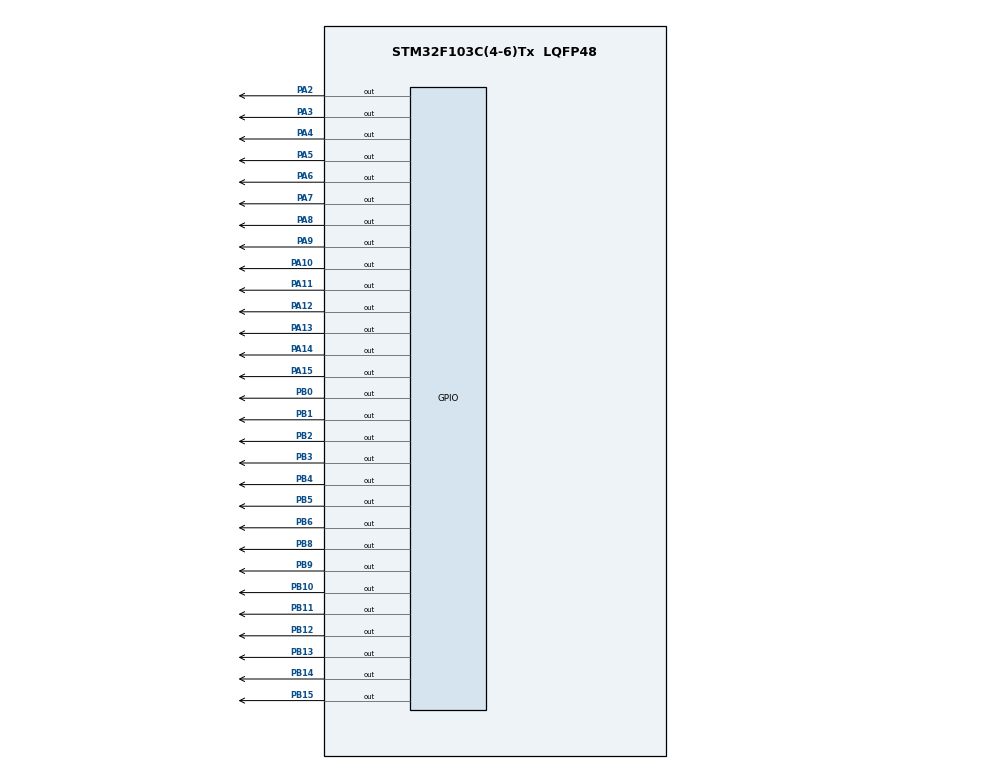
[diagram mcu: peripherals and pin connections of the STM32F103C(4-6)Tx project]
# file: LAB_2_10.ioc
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Mcu.Family=STM32F1
Mcu.Name=STM32F103C(4-6)Tx
Mcu.Package=LQFP48
NVIC.PriorityGroup=NVIC_PRIORITYGROUP_4
NVIC.TIM2_IRQn=true\:0\:0\:false\:false\:true\:true\:true
PA10.Signal=GPIO_Output
PA11.Signal=GPIO_Output
PA12.Signal=GPIO_Output
PA13.Signal=GPIO_Output
PA14.Signal=GPIO_Output
PA15.Signal=GPIO_Output
PA2.Signal=GPIO_Output
PA3.Signal=GPIO_Output
PA4.Signal=GPIO_Output
PA5.Signal=GPIO_Output
PA6.PinState=GPIO_PIN_SET
PA6.Signal=GPIO_Output
PA7.PinState=GPIO_PIN_SET
PA7.Signal=GPIO_Output
PA8.PinState=GPIO_PIN_SET
PA8.Signal=GPIO_Output
PA9.PinState=GPIO_PIN_SET
PA9.Signal=GPIO_Output
PB0.Signal=GPIO_Output
PB1.Signal=GPIO_Output
PB10.Signal=GPIO_Output
PB11.Signal=GPIO_Output
PB12.Signal=GPIO_Output
PB13.Signal=GPIO_Output
PB14.Signal=GPIO_Output
PB15.Signal=GPIO_Output
PB2.Signal=GPIO_Output
PB3.Signal=GPIO_Output
PB4.Signal=GPIO_Output
PB5.Signal=GPIO_Output
PB6.Signal=GPIO_Output
PB8.Signal=GPIO_Output
PB9.Signal=GPIO_Output
ProjectManager.HeapSize=0x200
ProjectManager.StackSize=0x400
ProjectManager.TargetToolchain=STM32CubeIDE
RCC.APB1Freq_Value=8000000
RCC.APB2Freq_Value=8000000
TIM2.Period=9
TIM2.Prescaler=7999
VP_SYS_VS_ND.Mode=No_Debug
VP_TIM2_VS_ClockSourceINT.Mode=Internal
board=custom

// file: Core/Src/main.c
/* USER CODE BEGIN Header */
/**
  ******************************************************************************
  * @file           : main.c
  * @brief          : Main program body
  ******************************************************************************
  */
/* USER CODE END Header */
#include "main.h"

TIM_HandleTypeDef htim2;

/* USER CODE BEGIN PV */
// Khai báo biến cho đồng hồ 7 đoạn
int hour = 15;
int minute = 8;
int second = 50;
const int MAX_LED = 4;
int index_led = 0;
int led_buffer[4] = {1, 5, 0, 8};

// Khai báo biến cho LED Ma trận (Exercise 9 & 10)
const int MAX_LED_MATRIX = 8;
int index_led_matrix = 0;
uint8_t matrix_buffer[8] = {
    0x18, 0x24, 0x42, 0x42,
    0x7E, 0x42, 0x42, 0x00
};
/* USER CODE END PV */

void SystemClock_Config(void);
static void MX_GPIO_Init(void);
static void MX_TIM2_Init(void);

/* USER CODE BEGIN 0 */
// Hàm hiển thị 1 số trên LED 7 đoạn
void display7SEG(int num) {
    uint8_t segmentMap[10] = {0x40, 0x79, 0x24, 0x30, 0x19, 0x12, 0x02, 0x78, 0x00, 0x10};
    if (num < 0 || num > 9) return;
    uint8_t val = segmentMap[num];

    HAL_GPIO_WritePin(GPIOB, GPIO_PIN_0, (val >> 0) & 0x01);
    HAL_GPIO_WritePin(GPIOB, GPIO_PIN_1, (val >> 1) & 0x01);
    HAL_GPIO_WritePin(GPIOB, GPIO_PIN_2, (val >> 2) & 0x01);
    HAL_GPIO_WritePin(GPIOB, GPIO_PIN_3, (val >> 3) & 0x01);
    HAL_GPIO_WritePin(GPIOB, GPIO_PIN_4, (val >> 4) & 0x01);
    HAL_GPIO_WritePin(GPIOB, GPIO_PIN_5, (val >> 5) & 0x01);
    HAL_GPIO_WritePin(GPIOB, GPIO_PIN_6, (val >> 6) & 0x01);
}

// Hàm quét LED 7 đoạn
void update7SEG(int index) {
    HAL_GPIO_WritePin(GPIOA, GPIO_PIN_6 | GPIO_PIN_7 | GPIO_PIN_8 | GPIO_PIN_9, GPIO_PIN_SET);

    switch (index) {
        case 0:
            display7SEG(led_buffer[0]);
            HAL_GPIO_WritePin(GPIOA, GPIO_PIN_6, GPIO_PIN_RESET);
            break;
        case 1:
            display7SEG(led_buffer[1]);
            HAL_GPIO_WritePin(GPIOA, GPIO_PIN_7, GPIO_PIN_RESET);
            break;
        case 2:
            display7SEG(led_buffer[2]);
            HAL_GPIO_WritePin(GPIOA, GPIO_PIN_8, GPIO_PIN_RESET);
            break;
        case 3:
            display7SEG(led_buffer[3]);
            HAL_GPIO_WritePin(GPIOA, GPIO_PIN_9, GPIO_PIN_RESET);
            break;
    }
}

// Hàm cập nhật mảng chứa dữ liệu th�?i gian
void updateClockBuffer() {
    led_buffer[0] = hour / 10;
    led_buffer[1] = hour % 10;
    led_buffer[2] = minute / 10;
    led_buffer[3] = minute % 10;
}

// Hàm quét LED Ma trận theo phương pháp quét hàng (Row scanning)
void updateLEDMatrix(int index) {
    // 1. Tắt tất cả các cột trước
    HAL_GPIO_WritePin(GPIOA, GPIO_PIN_1 | GPIO_PIN_2 | GPIO_PIN_10 | GPIO_PIN_11 |
                             GPIO_PIN_12 | GPIO_PIN_13 | GPIO_PIN_14 | GPIO_PIN_15, GPIO_PIN_RESET);

    // 2. Xuất dữ liệu hàng (ROW) ra các chân PB8 đến PB15
    uint8_t row_data = matrix_buffer[index];
    HAL_GPIO_WritePin(GPIOB, GPIO_PIN_8,  (row_data >> 0) & 0x01);
    HAL_GPIO_WritePin(GPIOB, GPIO_PIN_9,  (row_data >> 1) & 0x01);
    HAL_GPIO_WritePin(GPIOB, GPIO_PIN_10, (row_data >> 2) & 0x01);
    HAL_GPIO_WritePin(GPIOB, GPIO_PIN_11, (row_data >> 3) & 0x01);
    HAL_GPIO_WritePin(GPIOB, GPIO_PIN_12, (row_data >> 4) & 0x01);
    HAL_GPIO_WritePin(GPIOB, GPIO_PIN_13, (row_data >> 5) & 0x01);
    HAL_GPIO_WritePin(GPIOB, GPIO_PIN_14, (row_data >> 6) & 0x01);
    HAL_GPIO_WritePin(GPIOB, GPIO_PIN_15, (row_data >> 7) & 0x01);

    // 3. Kích hoạt cột tương ứng
    switch (index) {
        case 0: HAL_GPIO_WritePin(GPIOA, GPIO_PIN_1,  GPIO_PIN_SET); break;
        case 1: HAL_GPIO_WritePin(GPIOA, GPIO_PIN_2,  GPIO_PIN_SET); break;
        case 2: HAL_GPIO_WritePin(GPIOA, GPIO_PIN_10, GPIO_PIN_SET); break;
        case 3: HAL_GPIO_WritePin(GPIOA, GPIO_PIN_11, GPIO_PIN_SET); break;
        case 4: HAL_GPIO_WritePin(GPIOA, GPIO_PIN_12, GPIO_PIN_SET); break;
        case 5: HAL_GPIO_WritePin(GPIOA, GPIO_PIN_13, GPIO_PIN_SET); break;
        case 6: HAL_GPIO_WritePin(GPIOA, GPIO_PIN_14, GPIO_PIN_SET); break;
        case 7: HAL_GPIO_WritePin(GPIOA, GPIO_PIN_15, GPIO_PIN_SET); break;
    }
}
/* USER CODE END 0 */

int main(void)
{

  /* MCU Configuration--------------------------------------------------------*/

  /* Reset of all peripherals, Initializes the Flash interface and the Systick. */
  HAL_Init();

  /* Configure the system clock */
  SystemClock_Config();

  /* Initialize all configured peripherals */
  MX_GPIO_Init();
  MX_TIM2_Init();
  /* USER CODE BEGIN 2 */
  HAL_TIM_Base_Start_IT(&htim2); // Bắt đầu chạy ngắt Timer 2

  // Khởi tạo các mốc th�?i gian để chạy delay không đồng bộ (non-blocking)
  uint32_t last_time_clock = HAL_GetTick();
  uint32_t last_time_matrix = HAL_GetTick();
  /* USER CODE END 2 */

  /* Infinite loop */
  /* USER CODE BEGIN WHILE */
  while (1)
  {
      // 1. Cập nhật đồng hồ và nháy 3 đèn LED D1, D2, D3 mỗi 1000ms (1 giây)
      if (HAL_GetTick() - last_time_clock >= 1000) {
          last_time_clock = HAL_GetTick();

          second++;
          if (second >= 60){
              second = 0;
              minute++;
          }
          if(minute >= 60){
              minute = 0;
              hour++;
          }
          if(hour >= 24){
              hour = 0;
          }

          updateClockBuffer(); // Cập nhật th�?i gian

          // Chớp nháy 3 đèn LED RED D1, D2, D3 ở PA3, PA4 và PA5 mỗi giây
          HAL_GPIO_TogglePin(GPIOA, GPIO_PIN_3 | GPIO_PIN_4 | GPIO_PIN_5);
      }

      // 2. Hiệu ứng dịch chữ sang ngang (Left to Right) trên LED Ma trận
      if (HAL_GetTick() - last_time_matrix >= 200) {
          last_time_matrix = HAL_GetTick();

          for (int i = 0; i < MAX_LED_MATRIX; i++) {
              uint8_t temp = matrix_buffer[i];
              matrix_buffer[i] = (temp >> 1) | (temp << 7);
          }
      }
    /* USER CODE END WHILE */

  }
}

void SystemClock_Config(void)
{
  RCC_OscInitTypeDef RCC_OscInitStruct = {0};
  RCC_ClkInitTypeDef RCC_ClkInitStruct = {0};

  /** Initializes the RCC Oscillators according to the specified parameters
  * in the RCC_OscInitTypeDef structure.
  */
  RCC_OscInitStruct.OscillatorType = RCC_OSCILLATORTYPE_HSI;
  RCC_OscInitStruct.HSIState = RCC_HSI_ON;
  RCC_OscInitStruct.HSICalibrationValue = RCC_HSICALIBRATION_DEFAULT;
  RCC_OscInitStruct.PLL.PLLState = RCC_PLL_NONE;
  if (HAL_RCC_OscConfig(&RCC_OscInitStruct) != HAL_OK)
  {
    Error_Handler();
  }
  /** Initializes the CPU, AHB and APB buses clocks
  */
  RCC_ClkInitStruct.ClockType = RCC_CLOCKTYPE_HCLK|RCC_CLOCKTYPE_SYSCLK
                              |RCC_CLOCKTYPE_PCLK1|RCC_CLOCKTYPE_PCLK2;
  RCC_ClkInitStruct.SYSCLKSource = RCC_SYSCLKSOURCE_HSI;
  RCC_ClkInitStruct.AHBCLKDivider = RCC_SYSCLK_DIV1;
  RCC_ClkInitStruct.APB1CLKDivider = RCC_HCLK_DIV1;
  RCC_ClkInitStruct.APB2CLKDivider = RCC_HCLK_DIV1;

  if (HAL_RCC_ClockConfig(&RCC_ClkInitStruct, FLASH_LATENCY_0) != HAL_OK)
  {
    Error_Handler();
  }
}

static void MX_TIM2_Init(void)
{

  TIM_ClockConfigTypeDef sClockSourceConfig = {0};
  TIM_MasterConfigTypeDef sMasterConfig = {0};

  htim2.Instance = TIM2;
  htim2.Init.Prescaler = 7999;
  htim2.Init.CounterMode = TIM_COUNTERMODE_UP;
  htim2.Init.Period = 9;
  htim2.Init.ClockDivision = TIM_CLOCKDIVISION_DIV1;
  htim2.Init.AutoReloadPreload = TIM_AUTORELOAD_PRELOAD_DISABLE;
  if (HAL_TIM_Base_Init(&htim2) != HAL_OK)
  {
    Error_Handler();
  }
  sClockSourceConfig.ClockSource = TIM_CLOCKSOURCE_INTERNAL;
  if (HAL_TIM_ConfigClockSource(&htim2, &sClockSourceConfig) != HAL_OK)
  {
    Error_Handler();
  }
  sMasterConfig.MasterOutputTrigger = TIM_TRGO_RESET;
  sMasterConfig.MasterSlaveMode = TIM_MASTERSLAVEMODE_DISABLE;
  if (HAL_TIMEx_MasterConfigSynchronization(&htim2, &sMasterConfig) != HAL_OK)
  {
    Error_Handler();
  }

}

static void MX_GPIO_Init(void)
{
  GPIO_InitTypeDef GPIO_InitStruct = {0};

  /* GPIO Ports Clock Enable */
  __HAL_RCC_GPIOA_CLK_ENABLE();
  __HAL_RCC_GPIOB_CLK_ENABLE();

  /*Configure GPIO pin Output Level */
  HAL_GPIO_WritePin(GPIOA, GPIO_PIN_2|GPIO_PIN_3|GPIO_PIN_4|GPIO_PIN_5
                          |GPIO_PIN_10|GPIO_PIN_11|GPIO_PIN_12|GPIO_PIN_13
                          |GPIO_PIN_14|GPIO_PIN_15, GPIO_PIN_RESET);

  /*Configure GPIO pin Output Level */
  HAL_GPIO_WritePin(GPIOA, GPIO_PIN_6|GPIO_PIN_7|GPIO_PIN_8|GPIO_PIN_9, GPIO_PIN_SET);

  /*Configure GPIO pin Output Level */
  HAL_GPIO_WritePin(GPIOB, GPIO_PIN_0|GPIO_PIN_1|GPIO_PIN_2|GPIO_PIN_10
                          |GPIO_PIN_11|GPIO_PIN_12|GPIO_PIN_13|GPIO_PIN_14
                          |GPIO_PIN_15|GPIO_PIN_3|GPIO_PIN_4|GPIO_PIN_5
                          |GPIO_PIN_6|GPIO_PIN_8|GPIO_PIN_9, GPIO_PIN_RESET);

  /*Configure GPIO pins : PA2 PA3 PA4 PA5
                           PA6 PA7 PA8 PA9
                           PA10 PA11 PA12 PA13
                           PA14 PA15 */
  GPIO_InitStruct.Pin = GPIO_PIN_2|GPIO_PIN_3|GPIO_PIN_4|GPIO_PIN_5
                          |GPIO_PIN_6|GPIO_PIN_7|GPIO_PIN_8|GPIO_PIN_9
                          |GPIO_PIN_10|GPIO_PIN_11|GPIO_PIN_12|GPIO_PIN_13
                          |GPIO_PIN_14|GPIO_PIN_15;
  GPIO_InitStruct.Mode = GPIO_MODE_OUTPUT_PP;
  GPIO_InitStruct.Pull = GPIO_NOPULL;
  GPIO_InitStruct.Speed = GPIO_SPEED_FREQ_LOW;
  HAL_GPIO_Init(GPIOA, &GPIO_InitStruct);

  /*Configure GPIO pins : PB0 PB1 PB2 PB10
                           PB11 PB12 PB13 PB14
                           PB15 PB3 PB4 PB5
                           PB6 PB8 PB9 */
  GPIO_InitStruct.Pin = GPIO_PIN_0|GPIO_PIN_1|GPIO_PIN_2|GPIO_PIN_10
                          |GPIO_PIN_11|GPIO_PIN_12|GPIO_PIN_13|GPIO_PIN_14
                          |GPIO_PIN_15|GPIO_PIN_3|GPIO_PIN_4|GPIO_PIN_5
                          |GPIO_PIN_6|GPIO_PIN_8|GPIO_PIN_9;
  GPIO_InitStruct.Mode = GPIO_MODE_OUTPUT_PP;
  GPIO_InitStruct.Pull = GPIO_NOPULL;
  GPIO_InitStruct.Speed = GPIO_SPEED_FREQ_LOW;
  HAL_GPIO_Init(GPIOB, &GPIO_InitStruct);

}

/* USER CODE BEGIN 4 */
void HAL_TIM_PeriodElapsedCallback(TIM_HandleTypeDef *htim)
{
    if(htim->Instance == TIM2)
    {
        // Quét LED 7 đoạn
        update7SEG(index_led++);
        if (index_led >= MAX_LED) {
            index_led = 0;
        }

        // Quét LED Ma trận đồng th�?i
        updateLEDMatrix(index_led_matrix++);
        if (index_led_matrix >= MAX_LED_MATRIX) {
            index_led_matrix = 0;
        }
    }
}
/* USER CODE END 4 */

void Error_Handler(void)
{
  __disable_irq();
  while (1)
  {
  }
}

/************************ (C) COPYRIGHT STMicroelectronics *****END OF FILE****/
